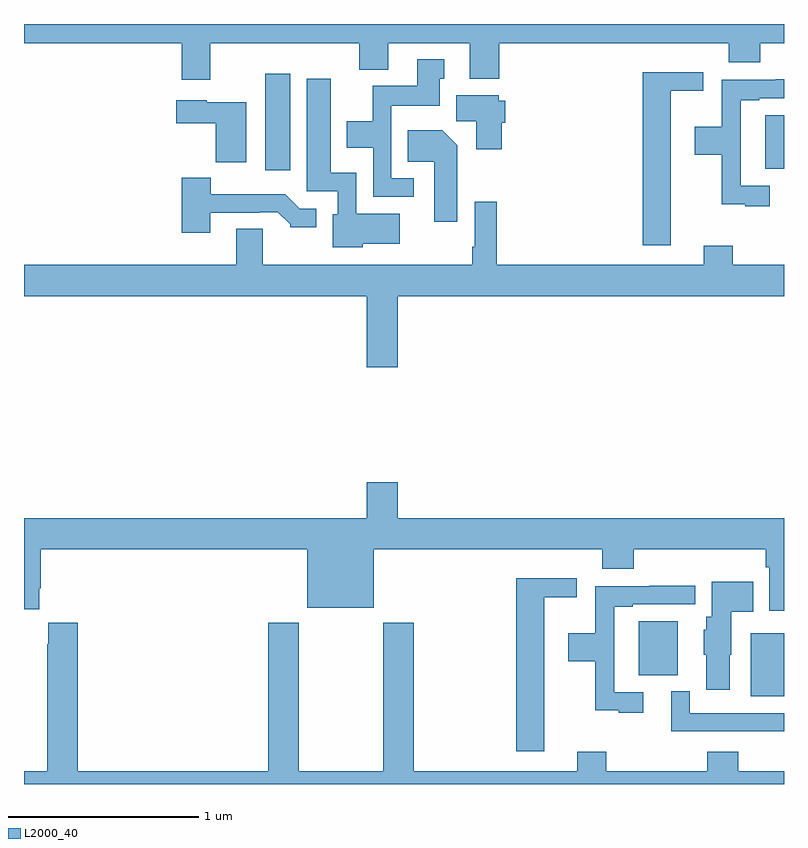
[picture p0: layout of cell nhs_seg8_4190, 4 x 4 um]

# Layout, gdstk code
import gdstk
lib = gdstk.Library(unit=1e-6, precision=1e-09)
def R(c, l, rs):  # rectangles x0, y0, x1, y1
    for r in rs: c.add(gdstk.rectangle(r[:2], r[2:], *l))
def P(c, l, *ps):  # polygons
    for p in ps: c.add(gdstk.Polygon(p, *l))
L2000_40 = (2000, 40)

nhs_seg8_4190 = lib.new_cell('nhs_seg8_4190')
R(nhs_seg8_4190, L2000_40, [(370.826,1146.362,371,1146.694), (370.235,1146.473,370.441,1146.757), (368.27,1149.129,368.401,1149.637), (370.901,1149.137,371,1149.421)])
P(nhs_seg8_4190, L2000_40, [(367.981,1149.8),(368.765,1149.8),(368.765,1149.659),(368.917,1149.659),(368.917,1149.8),(369.347,1149.8),(369.347,1149.611),(369.5,1149.611),(369.5,1149.8),(370.709,1149.8),(370.709,1149.698),(370.874,1149.698),(370.874,1149.8),(371,1149.8),(371,1149.9),(367,1149.9),(367,1149.8),(367.829,1149.8),(367.829,1149.606),(367.981,1149.606)],
  [(369.052,1149.087),(368.934,1149.087),(368.934,1149.47),(369.187,1149.47),(369.187,1149.612),(369.211,1149.612),(369.211,1149.715),(369.071,1149.715),(369.071,1149.574),(368.836,1149.574),(368.836,1149.388),(368.699,1149.388),(368.699,1149.248),(368.838,1149.248),(368.838,1148.991),(369.052,1148.991)],
  [(370.405,1149.548),(370.576,1149.548),(370.576,1149.646),(370.256,1149.646),(370.256,1148.736),(370.405,1148.736)],
  [(368.784,1148.744),(368.977,1148.744),(368.977,1148.902),(368.748,1148.902),(368.748,1149.118),(368.614,1149.118),(368.614,1149.613),(368.489,1149.613),(368.489,1149.021),(368.652,1149.021),(368.652,1148.898),(368.624,1148.898),(368.624,1148.726),(368.784,1148.726)],
  [(370.924,1149.048),(370.773,1149.048),(370.773,1149.498),(370.87,1149.498),(370.87,1149.51),(371,1149.51),(371,1149.608),(370.957,1149.608),(370.957,1149.606),(370.672,1149.606),(370.672,1149.358),(370.53,1149.358),(370.53,1149.211),(370.672,1149.211),(370.672,1148.951),(370.796,1148.951),(370.796,1148.94),(370.924,1148.94)],
  [(369.515,1149.381),(369.533,1149.381),(369.533,1149.495),(369.498,1149.495),(369.498,1149.526),(369.275,1149.526),(369.275,1149.388),(369.38,1149.388),(369.38,1149.24),(369.515,1149.24)],
  [(368.17,1149.487),(367.962,1149.487),(367.962,1149.499),(367.8,1149.499),(367.8,1149.377),(368.008,1149.377),(368.008,1149.173),(368.17,1149.173)],
  [(369.28,1149.262),(369.202,1149.34),(369.019,1149.34),(369.019,1149.176),(369.158,1149.176),(369.158,1148.859),(369.28,1148.859)],
  [(367.981,1148.907),(368.237,1148.907),(368.237,1148.91),(368.336,1148.91),(368.4,1148.846),(368.4,1148.831),(368.539,1148.831),(368.539,1148.928),(368.451,1148.928),(368.375,1149.004),(367.984,1149.004),(367.984,1149.091),(367.829,1149.091),(367.829,1148.802),(367.981,1148.802)],
  [(368.968,1148.468),(371,1148.468),(371,1148.632),(370.73,1148.632),(370.73,1148.734),(370.577,1148.734),(370.577,1148.632),(369.488,1148.632),(369.488,1148.965),(369.372,1148.965),(369.372,1148.728),(369.36,1148.728),(369.36,1148.632),(368.257,1148.632),(368.257,1148.822),(368.117,1148.822),(368.117,1148.632),(367,1148.632),(367,1148.468),(368.804,1148.468),(368.804,1148.094),(368.968,1148.094)],
  [(371,1147.3),(368.968,1147.3),(368.968,1147.489),(368.804,1147.489),(368.804,1147.3),(367,1147.3),(367,1146.819),(367.081,1146.819),(367.081,1146.931),(367.088,1146.931),(367.088,1147.136),(368.492,1147.136),(368.492,1146.827),(368.842,1146.827),(368.842,1147.136),(370.043,1147.136),(370.043,1147.034),(370.208,1147.034),(370.208,1147.136),(370.903,1147.136),(370.903,1147.04),(370.923,1147.04),(370.923,1146.813),(371,1146.813)],
  [(369.739,1146.884),(369.91,1146.884),(369.91,1146.982),(369.59,1146.982),(369.59,1146.072),(369.739,1146.072)],
  [(370.714,1146.579),(370.723,1146.579),(370.723,1146.806),(370.838,1146.806),(370.838,1146.964),(370.619,1146.964),(370.619,1146.78),(370.592,1146.78),(370.592,1146.711),(370.577,1146.711),(370.577,1146.579),(370.592,1146.579),(370.592,1146.396),(370.714,1146.396)],
  [(370.258,1146.384),(370.107,1146.384),(370.107,1146.834),(370.204,1146.834),(370.204,1146.846),(370.534,1146.846),(370.534,1146.944),(370.291,1146.944),(370.291,1146.942),(370.006,1146.942),(370.006,1146.694),(369.864,1146.694),(369.864,1146.547),(370.006,1146.547),(370.006,1146.287),(370.13,1146.287),(370.13,1146.276),(370.258,1146.276)],
  [(371,1145.968),(370.76,1145.968),(370.76,1146.07),(370.595,1146.07),(370.595,1145.968),(370.064,1145.968),(370.064,1146.07),(369.911,1146.07),(369.911,1145.968),(369.05,1145.968),(369.05,1146.748),(368.89,1146.748),(368.89,1145.968),(368.445,1145.968),(368.445,1146.748),(368.285,1146.748),(368.285,1145.968),(367.283,1145.968),(367.283,1146.748),(367.127,1146.748),(367.127,1146.635),(367.123,1146.635),(367.123,1145.968),(367,1145.968),(367,1145.9),(371,1145.9)],
  [(371,1146.273),(370.503,1146.273),(370.503,1146.388),(370.406,1146.388),(370.406,1146.177),(371,1146.177)])

lib.write_gds('nhs_seg8_4190.gds')
